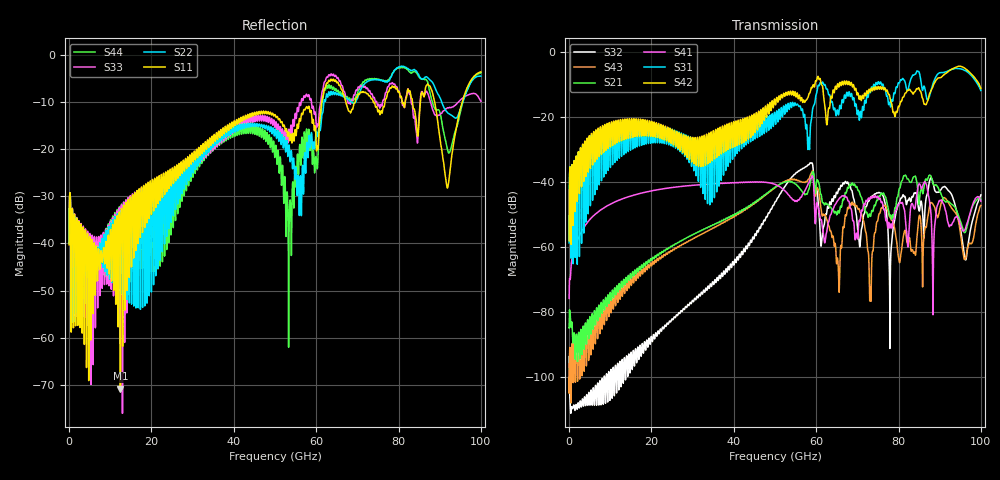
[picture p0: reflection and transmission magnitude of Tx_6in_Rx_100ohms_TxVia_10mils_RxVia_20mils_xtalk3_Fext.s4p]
! Info: Touchstone file created by Circ.  Input file=Tx_6in_Rx_100ohms_TxVia_10mils_RxVia_20mils.circ
# Hz S RI R 50
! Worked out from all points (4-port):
!   10000 points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, 10 MHz to 100 GHz, reference 50 ohm
!   strongest paths, dB at 10 MHz, 25.01 GHz, 50.01 GHz, 75.01 GHz, 100 GHz:
!     S42: -58.2, -24.0, -15.4, -10.7, -11.3
!     S31: -58.8, -23.9, -19.9, -9.4, -12.0
!     S41: -75.9, -41.8, -40.8, -44.6, -46.0
!     S21: -85.0, -59.9, -41.7, -45.4, -45.3
!     S43: -100.2, -61.3, -41.8, -51.6, -47.3
!     S32: -93.8, -82.2, -46.2, -43.5, -44.0
!   lowest |S11| = -70.8 dB at 12.46 GHz (marker M1), VSWR 1.00, Z = 50 - j0.0213 ohm
!   |S11| at or under -10 dB: start of sweep to 61.36 GHz; 73.82 GHz to 76.71 GHz (2.888 GHz wide, 3.84 % of centre); 88.78 GHz to 95.47 GHz (6.687 GHz wide, 7.26 % of centre) (the widest 3 of 6)
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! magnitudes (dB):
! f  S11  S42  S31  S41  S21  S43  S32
! 10 MHz  -40.3  -58.2  -58.8  -75.9  -85.0  -100.2  -93.8
! 12.46 GHz  -70.8  -20.9  -21.6  -45.5  -73.1  -75.3  -96.9
! 58.57 GHz  -12.3  -12.3  -23.7  -39.2  -40.3  -38.0  -34.2
! 61.36 GHz  -10.0  -10.2  -9.8  -52.4  -45.1  -50.0  -57.7
! 73.13 GHz  -8.8  -12.4  -12.6  -44.9  -50.6  -72.5  -45.0
! 91.88 GHz  -28.3  -6.3  -6.0  -52.0  -46.0  -46.0  -42.4
! 100 GHz  -3.7  -11.3  -12.0  -46.0  -45.3  -47.3  -44.0
